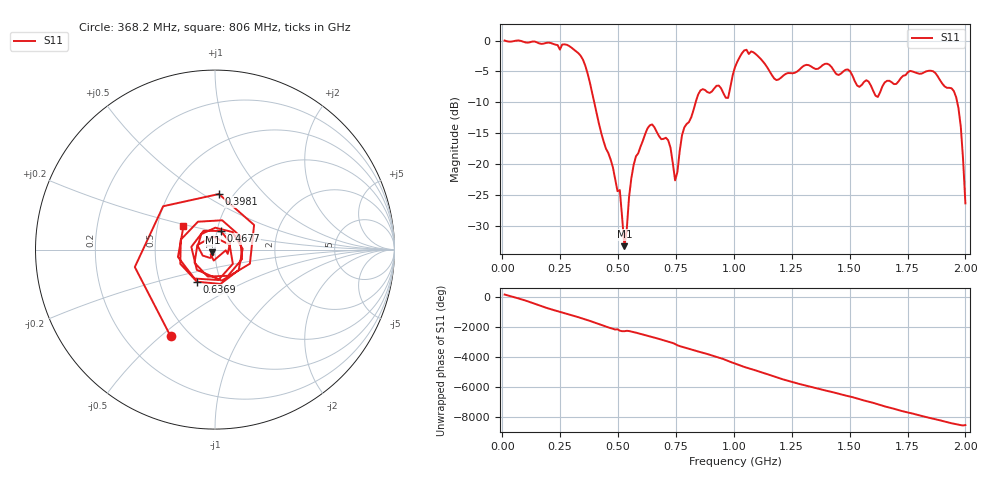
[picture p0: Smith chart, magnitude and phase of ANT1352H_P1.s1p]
!Created with skrf (http://scikit-rf.org).
# Hz S RI R 50.0
!freq ReS11 ImS11
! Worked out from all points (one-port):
!   201 points, 10 MHz to 2 GHz, reference 50 ohm
!   lowest |S11| = -33.3 dB at 527.4 MHz (marker M1), VSWR 1.04, Z = 48.6 - j1.56 ohm
!   |S11| at or under -10 dB: 397.1 MHz to 835 MHz (437.9 MHz wide, 71.1 % of centre); 1.965 GHz to end of sweep
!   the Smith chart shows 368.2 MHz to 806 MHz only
!   S11 on the Smith chart (normalised r, x): 368.2 MHz: 0.39, -0.54; 398.1 MHz: 0.86, +0.59; 467.7 MHz: 1.04, +0.22; 636.9 MHz: 0.77, -0.29; 806 MHz: 0.68, +0.18
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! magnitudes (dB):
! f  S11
! 10 MHz  0.0
! 258.8 MHz  -0.7
! 368.2 MHz  -5.3
! 398.1 MHz  -10.2
! 467.7 MHz  -19.3
! 507.5 MHz  -24.2
! 527.4 MHz  -33.3
! 567.2 MHz  -20.2
! 636.9 MHz  -13.8
! 716.5 MHz  -16.2
! 746.3 MHz  -22.7
! 756.2 MHz  -21.3
! 776.1 MHz  -15.4
! 806 MHz  -13.2
! 855.8 MHz  -8.1
! 935.4 MHz  -7.3
! 975.1 MHz  -9.3
! 1.005 GHz  -4.3
! 1.055 GHz  -1.5
! 1.184 GHz  -6.4
! 1.254 GHz  -5.3
! 1.502 GHz  -5.0
! 1.622 GHz  -9.1
! 1.751 GHz  -5.2
! 1.861 GHz  -5.0
! 1.95 GHz  -8.2
! 1.98 GHz  -13.9
! 2 GHz  -26.4
